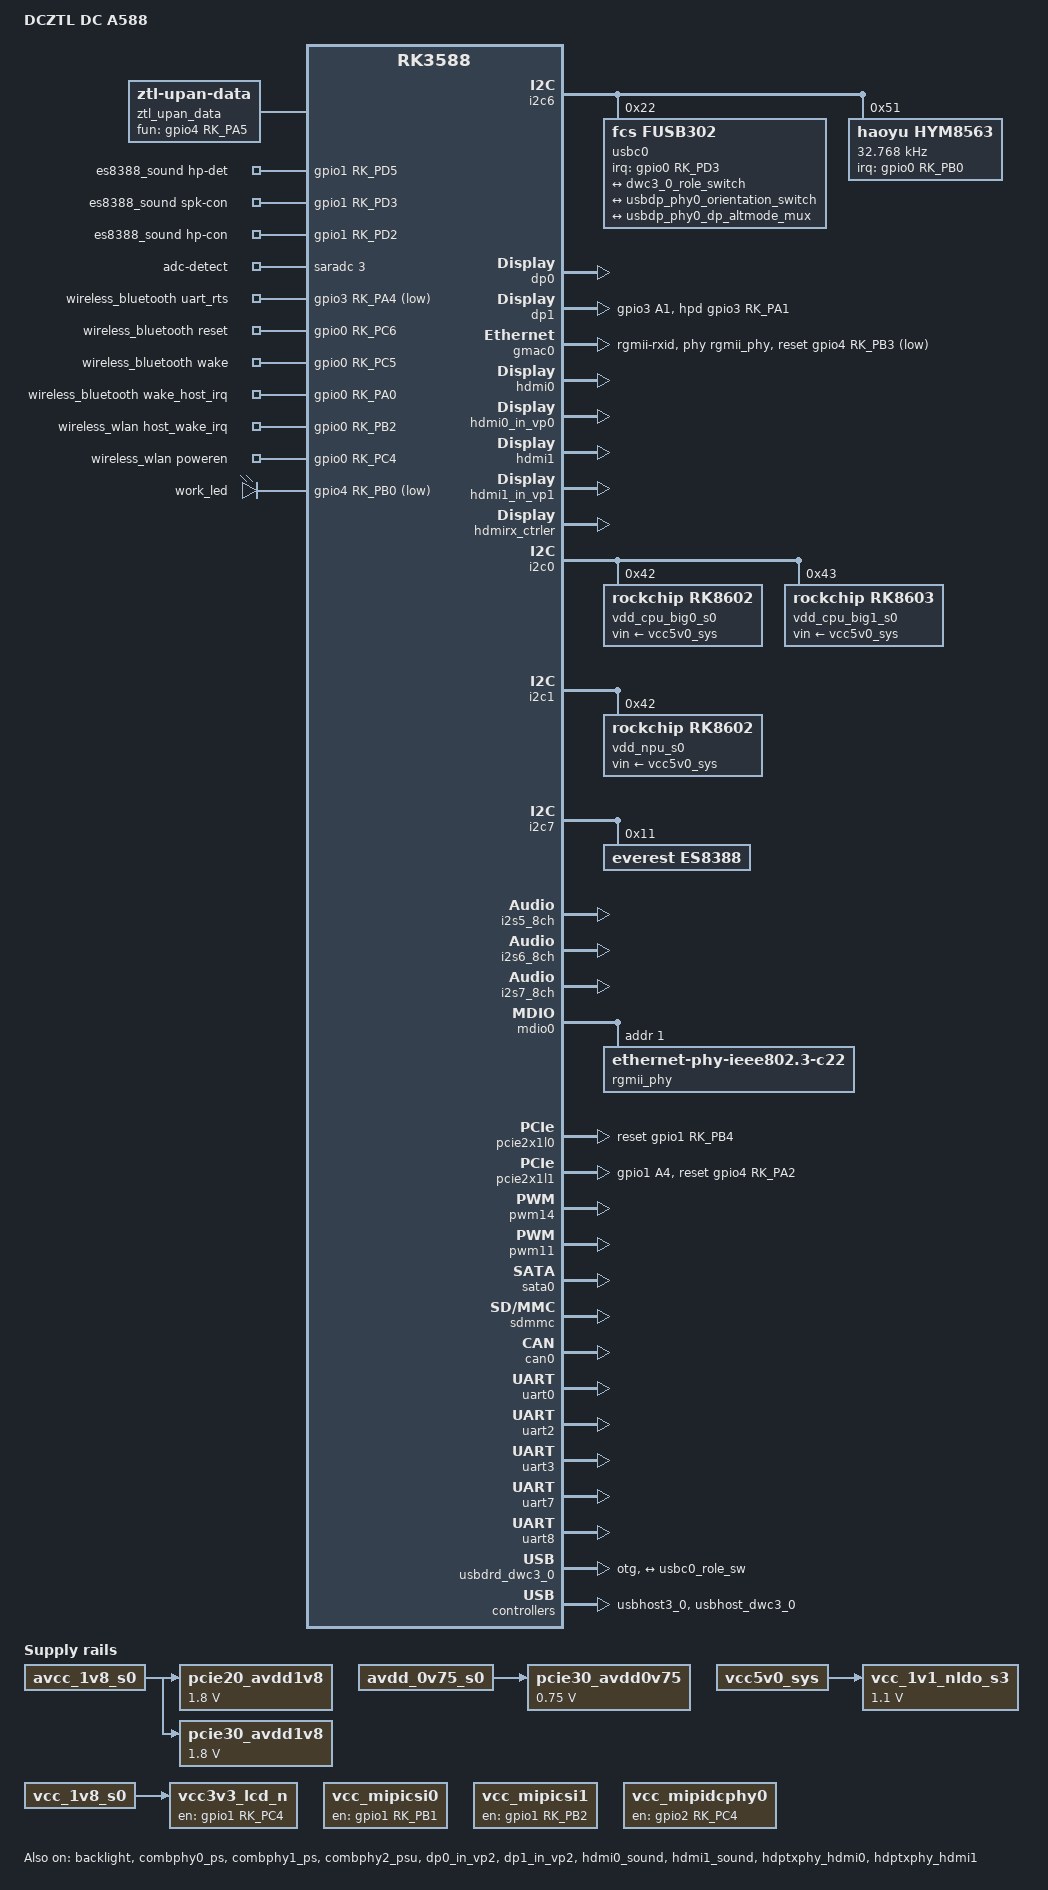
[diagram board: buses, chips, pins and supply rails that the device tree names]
// SPDX-License-Identifier: (GPL-2.0+ OR MIT)
/*
 * Copyright (c) 2021 Rockchip Electronics Co., Ltd.
 *
 */
 
/dts-v1/;
#include "dt-bindings/usb/pd.h"
#include "rk3588.dtsi"
#include "rk3588-dc-a588.dtsi"
#include "rk3588-rk806-single.dtsi"

/ {
        model = "DCZTL DC A588";
        compatible = "dcztl,dc-a588", "rockchip,rk3588";	
	
	/* If hdmirx node is disabled, delete the reserved-memory node here. */
	reserved-memory {
		#address-cells = <2>;
		#size-cells = <2>;
		ranges;

		/* Reserve 256MB memory for hdmirx-controller@fdee0000 */
		cma {
			compatible = "shared-dma-pool";
			reusable;
			reg = <0x0 (256 * 0x100000) 0x0 (256 * 0x100000)>;
			linux,cma-default;
		};
	};
         ztl_upan_data: ztl_upan_data {
                 compatible = "ztl-upan-data";
                 status = "okay";
                 gtp_used = <0>;
                 gtp_max_x = <0>;
                 gtp_max_y = <0>;
                 gtp_x_reverse_enable = <0>;
                 gtp_y_reverse_enable = <0>;
                 gtp_swap_x2y = <0>;
         //      lcd_pwm_pol = <0> ;  // #背光极性
                 lcd_bl_max_freq = <0> ; //  #背光频率
                 lcd_bl_delay = <0> ; // #背光延时
                 sys_speaker_gain  = <0> ;  // #喇叭增益
                 sys_mic_gain = <0> ; //#Mic增益
         //      sys_debug_uart = <0> ;  //#调试口配置
                 sys_codec_output = <0> ;// #声音输出通道选择  耳机，喇叭 hdmi,usb声卡（保留配置
                 primary_lcd = <0>;//0x1:HDMI 0x2:LVDS 0x4:EDP 0x8:DSI 0x41(65):HDMI+EDP...
                 extend_lcd = <0>;//0x1:HDMI 0x2:LVDS 0x4:EDP 0x8:DSI 0x41:HDMI+EDP...
                 hardwardvs = <1>;
                 disp_fb_width = <0>;
                 disp_fb_height = <0>;
 
                 hdmi_mode = <0>;// /* 4   - 1280x720p@60Hz  */
                                                         /* 16  - 1920x1080p@60Hz  */
                 //spk_ctl_gpio = <&gpio3 RK_PC5 GPIO_ACTIVE_HIGH>;
                 fun_gpios = <&gpio4 RK_PA5 GPIO_ACTIVE_HIGH>;
	//	 4g_gpio = <&gpio3 RK_PB4 GPIO_ACTIVE_LOW>; 
        //         io-channels = <&saradc 1>;
        //         io-channel-names = "hard_id";
         };

	es8388_sound: es8388-sound {
		status = "okay";
		compatible = "rockchip,multicodecs-card";
		rockchip,card-name = "rockchip-es8388";
		hp-det-gpio = <&gpio1 RK_PD5 GPIO_ACTIVE_HIGH>;
		io-channels = <&saradc 3>;
		io-channel-names = "adc-detect";
		keyup-threshold-microvolt = <1800000>;
		poll-interval = <100>;
		spk-con-gpio = <&gpio1 RK_PD3 GPIO_ACTIVE_HIGH>;
		hp-con-gpio = <&gpio1 RK_PD2 GPIO_ACTIVE_HIGH>;
		rockchip,format = "i2s";
		rockchip,mclk-fs = <256>;
		rockchip,cpu = <&i2s0_8ch>;
		rockchip,codec = <&es8388>;
		rockchip,audio-routing =
			"Headphone", "LOUT1",
			"Headphone", "ROUT1",
			"Speaker", "LOUT2",
			"Speaker", "ROUT2",
			"Headphone", "Headphone Power",
			"Headphone", "Headphone Power",
			"Speaker", "Speaker Power",
			"Speaker", "Speaker Power",
			"LINPUT1", "Main Mic",
			"LINPUT2", "Main Mic",
			"RINPUT1", "Headset Mic",
			"RINPUT2", "Headset Mic";
		pinctrl-names = "default";
		pinctrl-0 = <&hp_det>;
		play-pause-key {
			label = "playpause";
			linux,code = <KEY_PLAYPAUSE>;
			press-threshold-microvolt = <2000>;
		};
	};

	hdmiin_dc: hdmiin-dc {
		compatible = "rockchip,dummy-codec";
		#sound-dai-cells = <0>;
	};

	hdmiin-sound {
		compatible = "simple-audio-card";
		simple-audio-card,format = "i2s";
		simple-audio-card,name = "rockchip,hdmiin";
		simple-audio-card,bitclock-master = <&dailink0_master>;
		simple-audio-card,frame-master = <&dailink0_master>;
		status = "okay";
		simple-audio-card,cpu {
			sound-dai = <&i2s7_8ch>;
		};
		dailink0_master: simple-audio-card,codec {
			sound-dai = <&hdmiin_dc>;
		};
	};
/*
	pcie20_avdd0v85: pcie20-avdd0v85 {
		compatible = "regulator-fixed";
		regulator-name = "pcie20_avdd0v85";
		regulator-boot-on;
		regulator-always-on;
		regulator-min-microvolt = <850000>;
		regulator-max-microvolt = <850000>;
		vin-supply = <&avdd_0v85_s0>;
	};
*/
	pcie20_avdd1v8: pcie20-avdd1v8 {
		compatible = "regulator-fixed";
		regulator-name = "pcie20_avdd1v8";
		regulator-boot-on;
		regulator-always-on;
		regulator-min-microvolt = <1800000>;
		regulator-max-microvolt = <1800000>;
		vin-supply = <&avcc_1v8_s0>;
	};

	pcie30_avdd0v75: pcie30-avdd0v75 {
		compatible = "regulator-fixed";
		regulator-name = "pcie30_avdd0v75";
		regulator-boot-on;
		regulator-always-on;
		regulator-min-microvolt = <750000>;
		regulator-max-microvolt = <750000>;
		vin-supply = <&avdd_0v75_s0>;
	};

	pcie30_avdd1v8: pcie30-avdd1v8 {
		compatible = "regulator-fixed";
		regulator-name = "pcie30_avdd1v8";
		regulator-boot-on;
		regulator-always-on;
		regulator-min-microvolt = <1800000>;
		regulator-max-microvolt = <1800000>;
		vin-supply = <&avcc_1v8_s0>;
	};

	rk_headset: rk-headset {
		status = "disabled";
		compatible = "rockchip_headset";
		headset_gpio = <&gpio1 RK_PD5 GPIO_ACTIVE_HIGH>;
		pinctrl-names = "default";
		pinctrl-0 = <&hp_det>;
		io-channels = <&saradc 3>;
	};
/*
	vbus5v0_typec: vbus5v0-typec {
		compatible = "regulator-fixed";
		regulator-name = "vbus5v0_typec";
		regulator-min-microvolt = <5000000>;
		regulator-max-microvolt = <5000000>;
		enable-active-high;
		gpio = <&gpio4 RK_PD0 GPIO_ACTIVE_HIGH>;
		vin-supply = <&vcc5v0_usb>;
		pinctrl-names = "default";
		pinctrl-0 = <&typec5v_pwren>;
	};
*/

        vcc_1v1_nldo_s3: vcc-1v1-nldo-s3 {
                compatible = "regulator-fixed";
                regulator-name = "vcc_1v1_nldo_s3";
                regulator-always-on;
                regulator-boot-on;
                regulator-min-microvolt = <1100000>;
                regulator-max-microvolt = <1100000>;
                vin-supply = <&vcc5v0_sys>;
        };

	vcc3v3_lcd_n: vcc3v3-lcd0-n {
		compatible = "regulator-fixed";
		regulator-name = "vcc3v3_lcd0_n";
		regulator-boot-on;
		enable-active-high;
		gpio = <&gpio1 RK_PC4 GPIO_ACTIVE_HIGH>;
		vin-supply = <&vcc_1v8_s0>;
	};
/*
	vcc3v3_pcie30: vcc3v3-pcie30 {
		compatible = "regulator-fixed";
		regulator-name = "vcc3v3_pcie30";
		regulator-min-microvolt = <3300000>;
		regulator-max-microvolt = <3300000>;
		enable-active-high;
		gpios = <&gpio3 RK_PC3 GPIO_ACTIVE_HIGH>;
		startup-delay-us = <5000>;
		vin-supply = <&vcc12v_dcin>;
	};
*/
/*
	vcc5v0_host: vcc5v0-host {
		compatible = "regulator-fixed";
		regulator-name = "vcc5v0_host";
		regulator-boot-on;
		regulator-always-on;
		regulator-min-microvolt = <5000000>;
		regulator-max-microvolt = <5000000>;
		enable-active-high;
		gpio = <&gpio4 RK_PB0 GPIO_ACTIVE_HIGH>;
		vin-supply = <&vcc5v0_usb>;
		pinctrl-names = "default";
		pinctrl-0 = <&vcc5v0_host_en>;
	};
*/
	vcc_mipicsi0: vcc-mipicsi0-regulator {
		compatible = "regulator-fixed";
		gpio = <&gpio1 RK_PB1 GPIO_ACTIVE_HIGH>;
		pinctrl-names = "default";
		pinctrl-0 = <&mipicsi0_pwr>;
		regulator-name = "vcc_mipicsi0";
		enable-active-high;
	};

	vcc_mipicsi1: vcc-mipicsi1-regulator {
		compatible = "regulator-fixed";
		gpio = <&gpio1 RK_PB2 GPIO_ACTIVE_HIGH>;
		pinctrl-names = "default";
		pinctrl-0 = <&mipicsi1_pwr>;
		regulator-name = "vcc_mipicsi1";
		enable-active-high;
	};

	vcc_mipidcphy0: vcc-mipidcphy0-regulator {
		compatible = "regulator-fixed";
		gpio = <&gpio2 RK_PC4 GPIO_ACTIVE_HIGH>;
		pinctrl-names = "default";
		pinctrl-0 = <&mipidcphy0_pwr>;
		regulator-name = "vcc_mipidcphy0";
		enable-active-high;
	};

	wireless_bluetooth: wireless-bluetooth {
		compatible = "bluetooth-platdata";
		clocks = <&hym8563>;
		clock-names = "ext_clock";
		uart_rts_gpios = <&gpio3 RK_PA4 GPIO_ACTIVE_LOW>;
		pinctrl-names = "default", "rts_gpio";
		pinctrl-0 = <&uart8m1_rtsn>, <&bt_reset_gpio>, <&bt_wake_gpio>, <&bt_irq_gpio>;
		pinctrl-1 = <&uart8_gpios>;
		BT,reset_gpio    = <&gpio0 RK_PC6 GPIO_ACTIVE_HIGH>;//BT_REG_ON
		BT,wake_gpio     = <&gpio0 RK_PC5 GPIO_ACTIVE_HIGH>;//HOST_WAKE_BT
		BT,wake_host_irq = <&gpio0 RK_PA0 GPIO_ACTIVE_HIGH>;//BT_WAKE_HOST
		status = "okay";
	};

	wireless_wlan: wireless-wlan {
		compatible = "wlan-platdata";
		wifi_chip_type = "ap6275p";
		pinctrl-names = "default";
		pinctrl-0 = <&wifi_host_wake_irq>, <&wifi_poweren_gpio>;
		WIFI,host_wake_irq = <&gpio0 RK_PB2 GPIO_ACTIVE_HIGH>;
		WIFI,poweren_gpio = <&gpio0 RK_PC4 GPIO_ACTIVE_HIGH>;
		status = "okay";
	};
};

&i2c5{
	status = "disabled";

	
	gt911:ts@14 {
		compatible = "goodix,gt9xx";
		reg = <0x14>;
		touch-gpio = <&gpio3 RK_PC3 IRQ_TYPE_LEVEL_LOW>;
		reset-gpio = <&gpio3 RK_PB7 GPIO_ACTIVE_LOW>;
		tp-size = <911>;
		flip-x = <0>;
		flip-y = <0>;
		swap-xy = <0>;
		//  max-x = <1024>;
		//  max-y = <600>;
		status = "disabled";
		pinctrl-names = "default";
		pinctrl-0 = <&touch_gpio>;
		
	};
};

&i2c6 {
        status = "okay";
};

&backlight {
	pwms = <&pwm14 0 25000 0>;
	status = "okay";
};

&combphy0_ps {
	status = "okay";
};

&combphy1_ps {
	status = "okay";
};

&combphy2_psu {
	status = "okay";
};

&dp0 {
	status = "okay";
};

&dp0_in_vp2 {
	status = "okay";
};

&dp1 {
	pinctrl-names = "default";
	pinctrl-0 = <&dp1_hpd>;
	hpd-gpios = <&gpio3 RK_PA1 GPIO_ACTIVE_HIGH>;
	status = "okay";
};

&dp1_in_vp2 {
	status = "okay";
};

&gmac0 {
	/* Use rgmii-rxid mode to disable rx delay inside Soc */
	phy-mode = "rgmii-rxid";
	clock_in_out = "output";

	snps,reset-gpio = <&gpio4 RK_PB3 GPIO_ACTIVE_LOW>;
	snps,reset-active-low;
	/* Reset time is 20ms, 100ms for rtl8211f */
	snps,reset-delays-us = <0 20000 100000>;

	pinctrl-names = "default";
	pinctrl-0 = <&gmac0_miim
		     &gmac0_tx_bus2
		     &gmac0_rx_bus2
		     &gmac0_rgmii_clk
		     &gmac0_rgmii_bus>;

	tx_delay = <0x43>;
	/* rx_delay = <0x3f>; */

	phy-handle = <&rgmii_phy>;
	status = "okay";
};
#if 1
&hdmi0 {
	enable-gpios = <&gpio4 RK_PB1 GPIO_ACTIVE_HIGH>;
	status = "okay";
};

&route_hdmi0 {
	status = "disabled";
	logo,kernel = "logo.bmp";
	connect = <&vp0_out_hdmi0>;
};

&hdmi0_in_vp0 {
	status = "okay";
};

&hdmi0_sound {
	status = "okay";
};

&hdmi1 {
	enable-gpios = <&gpio4 RK_PB2 GPIO_ACTIVE_HIGH>;
	status = "okay";
};

&route_hdmi1 {
	status = "disabled";
	logo,kernel = "logo.bmp";
	connect = <&vp1_out_hdmi1>;
};

&hdmi1_in_vp1 {
	status = "okay";
};

&hdmi1_sound {
	status = "okay";
};

#else
&hdmi0 {
	split-mode;
        enable-gpios = <&gpio4 RK_PB1 GPIO_ACTIVE_HIGH>;
        status = "okay";
};

&hdmi0_in_vp0 {
        status = "okay";
};

&hdmi0_sound {
        status = "okay";
};

&hdmi1 {
        enable-gpios = <&gpio4 RK_PB2 GPIO_ACTIVE_HIGH>;
        status = "okay";
};

&hdmi1_in_vp0 {
        status = "okay";
};

&hdmi1_in_vp1 {
        status = "disabled";
};

&hdmi1_sound {
        status = "okay";
};

#endif

/* Should work with at least 128MB cma reserved above. */
&hdmirx_ctrler {
	status = "okay";

	/* Effective level used to trigger HPD: 0-low, 1-high */
	hpd-trigger-level = <1>;
	hdmirx-det-gpios = <&gpio2 13 GPIO_ACTIVE_LOW>;
};

&hdptxphy_hdmi0 {
	status = "okay";
};

&hdptxphy_hdmi1 {
	status = "okay";
};

&i2c0 {
        status = "okay";
        pinctrl-names = "default";
        pinctrl-0 = <&i2c0m2_xfer>;

        vdd_cpu_big0_s0: vdd_cpu_big0_mem_s0: rk8602@42 {
                compatible = "rockchip,rk8602";
                reg = <0x42>;
                vin-supply = <&vcc5v0_sys>;
                regulator-compatible = "rk860x-reg";
                regulator-name = "vdd_cpu_big0_s0";
                regulator-min-microvolt = <550000>;
                regulator-max-microvolt = <1050000>;
                regulator-ramp-delay = <2300>;
                rockchip,suspend-voltage-selector = <1>;
                regulator-boot-on;
                regulator-always-on;
                regulator-state-mem {
                        regulator-off-in-suspend;
                };
        };

        vdd_cpu_big1_s0: vdd_cpu_big1_mem_s0: rk8603@43 {
                compatible = "rockchip,rk8603";
                reg = <0x43>;
                vin-supply = <&vcc5v0_sys>;
                regulator-compatible = "rk860x-reg";
                regulator-name = "vdd_cpu_big1_s0";
                regulator-min-microvolt = <550000>;
                regulator-max-microvolt = <1050000>;
                regulator-ramp-delay = <2300>;
                rockchip,suspend-voltage-selector = <1>;
                regulator-boot-on;
                regulator-always-on;
                regulator-state-mem {
                        regulator-off-in-suspend;
                };
        };
};

&i2c1 {
        status = "okay";
		pinctrl-0 = <&i2c1m2_xfer>;
		// gt1x: gt1x@14 {
		// 	status = "disabled";
		// };

        vdd_npu_s0: vdd_npu_mem_s0: rk8602@42 {
                compatible = "rockchip,rk8602";
                reg = <0x42>;
                vin-supply = <&vcc5v0_sys>;
                regulator-compatible = "rk860x-reg";
                regulator-name = "vdd_npu_s0";
                regulator-min-microvolt = <550000>;
                regulator-max-microvolt = <950000>;
                regulator-ramp-delay = <2300>;
                rockchip,suspend-voltage-selector = <1>;
                regulator-boot-on;
                regulator-always-on;
                regulator-state-mem {
                        regulator-off-in-suspend;
                };
        };
};

&i2c6 {
	status = "okay";

	usbc0: fusb302@22 {
		compatible = "fcs,fusb302";
		reg = <0x22>;
		interrupt-parent = <&gpio0>;
		interrupts = <RK_PD3 IRQ_TYPE_LEVEL_LOW>;
		pinctrl-names = "default";
		pinctrl-0 = <&usbc0_int>;
//		vbus-supply = <&vbus5v0_typec>;
		status = "okay";

		ports {
			#address-cells = <1>;
			#size-cells = <0>;

			port@0 {
				reg = <0>;
				usbc0_role_sw: endpoint@0 {
					remote-endpoint = <&dwc3_0_role_switch>;
				};
			};
		};

		usb_con: connector {
			compatible = "usb-c-connector";
			label = "USB-C";
			data-role = "dual";
			power-role = "dual";
			try-power-role = "sink";
			op-sink-microwatt = <1000000>;
			sink-pdos =
				<PDO_FIXED(5000, 1000, PDO_FIXED_USB_COMM)>;
			source-pdos =
				<PDO_FIXED(5000, 3000, PDO_FIXED_USB_COMM)>;

			altmodes {
				#address-cells = <1>;
				#size-cells = <0>;

				altmode@0 {
					reg = <0>;
					svid = <0xff01>;
					vdo = <0xffffffff>;
				};
			};

			ports {
				#address-cells = <1>;
				#size-cells = <0>;

				port@0 {
					reg = <0>;
					usbc0_orien_sw: endpoint {
						remote-endpoint = <&usbdp_phy0_orientation_switch>;
					};
				};

				port@1 {
					reg = <1>;
					dp_altmode_mux: endpoint {
						remote-endpoint = <&usbdp_phy0_dp_altmode_mux>;
					};
				};
			};
		};
	};

	hym8563: hym8563@51 {
		compatible = "haoyu,hym8563";
		reg = <0x51>;
		#clock-cells = <0>;
		clock-frequency = <32768>;
		clock-output-names = "hym8563";
		pinctrl-names = "default";
		pinctrl-0 = <&hym8563_int>;
		interrupt-parent = <&gpio0>;
		interrupts = <RK_PB0 IRQ_TYPE_LEVEL_LOW>;
/*
                pinctrl-names = "default";
                pinctrl-0 = <&hym8563_int>;
                interrupt-parent = <&gpio0>;
                interrupts = <RK_PD4 IRQ_TYPE_LEVEL_LOW>;
*/
		wakeup-source;
	};
};


&i2c7 {
	status = "okay";
	es8388: es8388@11 {
		status = "okay";
		#sound-dai-cells = <0>;
		compatible = "everest,es8388", "everest,es8323";
		reg = <0x11>;
		clocks = <&cru I2S0_8CH_MCLKOUT>;
		clock-names = "mclk";
		assigned-clocks = <&cru I2S0_8CH_MCLKOUT>;
		assigned-clock-rates = <12288000>;
		pinctrl-names = "default";
		pinctrl-0 = <&i2s0_mclk>;
	};
};

&i2s5_8ch {
	status = "okay";
};

&i2s6_8ch {
	status = "okay";
};

&i2s7_8ch {
	status = "okay";
};

&mdio0 {
	rgmii_phy: phy@1 {
		compatible = "ethernet-phy-ieee802.3-c22";
		reg = <0x1>;
	};
};


&pcie2x1l0 {
	reset-gpios = <&gpio1 RK_PB4 GPIO_ACTIVE_HIGH>;
	rockchip,skip-scan-in-resume;
	status = "okay";
};

&pcie2x1l1 {
	reset-gpios = <&gpio4 RK_PA2 GPIO_ACTIVE_HIGH>;
	pinctrl-names = "default";
	pinctrl-0 = <&rtl8111_isolate>;
	status = "okay";
};
#if 0
&pcie30phy {
	rockchip,pcie30-phymode = <PHY_MODE_PCIE_AGGREGATION>;
	status = "okay";
};

&pcie3x4 {
	reset-gpios = <&gpio4 RK_PB6 GPIO_ACTIVE_HIGH>;
//	vpcie3v3-supply = <&vcc3v3_pcie30>;
	status = "okay";
};
#endif
&pinctrl {
	cam {
		mipicsi0_pwr: mipicsi0-pwr {
			rockchip,pins =
				/* camera power en */
				<1 RK_PB1 RK_FUNC_GPIO &pcfg_pull_none>;
		};
		mipicsi1_pwr: mipicsi1-pwr {
			rockchip,pins =
				/* camera power en */
				<1 RK_PB2 RK_FUNC_GPIO &pcfg_pull_none>;
		};
		mipidcphy0_pwr: mipidcphy0-pwr {
			rockchip,pins =
				/* camera power en */
				<2 RK_PC4 RK_FUNC_GPIO &pcfg_pull_none>;
		};
	};

	dp {
		dp1_hpd: dp1-hpd {
			rockchip,pins = <3 RK_PA1 RK_FUNC_GPIO &pcfg_pull_none>;
		};
	};

	headphone {
		hp_det: hp-det {
			rockchip,pins = <1 RK_PD5 RK_FUNC_GPIO &pcfg_pull_none>;
		};
	};

	hym8563 {
		hym8563_int: hym8563-int {
			rockchip,pins = <0 RK_PB0 RK_FUNC_GPIO &pcfg_pull_up>;
		};
	};

	lcd {
		lcd_rst_gpio: lcd-rst-gpio {
			rockchip,pins = <2 RK_PB4 RK_FUNC_GPIO &pcfg_pull_none>;
		};
	};

	rtl8111 {
		rtl8111_isolate: rtl8111-isolate {
			rockchip,pins = <1 RK_PA4 RK_FUNC_GPIO &pcfg_pull_up>;
		};
	};

	touch {
		touch_gpio: touch-gpio {
			rockchip,pins =
				<3 RK_PC3 RK_FUNC_GPIO &pcfg_pull_up>,
				<3 RK_PB7 RK_FUNC_GPIO &pcfg_pull_none>;
		};
	};
/*
	usb {
		vcc5v0_host_en: vcc5v0-host-en {
			rockchip,pins = <4 RK_PB0 RK_FUNC_GPIO &pcfg_pull_none>;
		};
	};
*/
	usb-typec {
		usbc0_int: usbc0-int {
			rockchip,pins = <0 RK_PD3 RK_FUNC_GPIO &pcfg_pull_up>;
		};
/*
		typec5v_pwren: typec5v-pwren {
			rockchip,pins = <4 RK_PD0 RK_FUNC_GPIO &pcfg_pull_none>;
		};
*/
	};

	wireless-bluetooth {
		uart8_gpios: uart8-gpios {
			rockchip,pins = <3 RK_PA4 RK_FUNC_GPIO &pcfg_pull_none>;
		};

		bt_reset_gpio: bt-reset-gpio {
			rockchip,pins = <0 RK_PC6 RK_FUNC_GPIO &pcfg_pull_none>;
		};

		bt_wake_gpio: bt-wake-gpio {
			rockchip,pins = <0 RK_PC5 RK_FUNC_GPIO &pcfg_pull_none>;
		};

		bt_irq_gpio: bt-irq-gpio {
			rockchip,pins = <0 RK_PA0 RK_FUNC_GPIO &pcfg_pull_down>;
		};
	};

	wireless-wlan {
		wifi_host_wake_irq: wifi-host-wake-irq {
			rockchip,pins = <0 RK_PB2 RK_FUNC_GPIO &pcfg_pull_down>;
		};

		wifi_poweren_gpio: wifi-poweren-gpio {
			rockchip,pins = <0 RK_PC4 RK_FUNC_GPIO &pcfg_pull_up>;
		};
	};
};

&pwm14 {
	status = "okay";
};

&pwm11 {
	status = "okay";
	pinctrl-0 = <&pwm11m3_pins>;
        compatible = "rockchip,remotectl-pwm";
        remote_pwm_id = <11>;
        handle_cpu_id = <1>;
        remote_support_psci = <0>;
        pinctrl-names = "default";
        ir_key1 {
                rockchip,usercode = <0xff00>;
                rockchip,key_table =
                // <0xa4 28>,// enter
				<0xa4 232>,// enter
                <0xac 158>,
                <0xb2 103>,
                <0xa5 108>,
                <0xa8 105>,
                <0xa0 106>,
                <0xad 172>,
                <0xa3 115>,
                <0xab 114>,
                <0xb7 217>,
                <0xf0 116>,
                <0xa7 113>,
                <0xef 139>,
                <0xf5 0x192>,
                <0xa1 140>,//mouse button Generic.kl calculate -> android button 210
                <0xe8 2>,
                <0xe4 3>,
                <0xe0 4>,
                <0xe9 5>,
                <0xe5 6>,
                <0xe1 7>,
                <0xea 8>,
                <0xe6 9>,
                <0xe2 10>,
                <0xe7 11>,
                <0xeb 52>,
                <0xaf 68>,
                <0xec 87>,
                <0xf0 88>,
                <0xa9 15>,
                <0xa8 66>,
           //     <0xe3 111>,
                <0xa6 164>,
                <0xaa 207>,
             <0xee 242>,
                <0xed 241>,
    <0xa9 15>,
    <0xe3 14>;

        };

};

&rockchip_suspend {
	compatible = "rockchip,pm-rk3588";
	status = "okay";
	rockchip,sleep-debug-en = <1>;
	rockchip,sleep-mode-config = <
		(0
		| RKPM_SLP_ARMOFF_DDRPD
		)
	>;
	rockchip,wakeup-config = <
		(0
		| RKPM_GPIO_WKUP_EN
		| RKPM_USB_WKUP_EN
		)
	>;
};

&avdd_0v75_s0 {
	regulator-state-mem {
		regulator-on-in-suspend;
		regulator-suspend-microvolt = <837500>;
	};
};

&avcc_1v8_s0 {
	regulator-state-mem {
		regulator-on-in-suspend;
		regulator-suspend-microvolt = <1800000>;
	};
};

&vcc_1v8_s0 {
	regulator-state-mem {
		regulator-on-in-suspend;
		regulator-suspend-microvolt = <1800000>;
	};
};

&vcc_3v3_s0 {
	regulator-state-mem {
		regulator-on-in-suspend;
		regulator-suspend-microvolt = <3300000>;
	};
};

&vdd_log_s0 {
	regulator-state-mem {
		regulator-on-in-suspend;
		regulator-suspend-microvolt = <750000>;
	};
};

&vdd_ddr_pll_s0 {
	regulator-state-mem {
		regulator-on-in-suspend;
		regulator-suspend-microvolt = <850000>;
	};
};

&sata0 {
	status = "okay";
};

&u2phy0_otg {
	rockchip,typec-vbus-det;
};
/*
&u2phy1_otg {
	phy-supply = <&vcc5v0_host>;
};

&u2phy2_host {
	phy-supply = <&vcc5v0_host>;
};

&u2phy3_host {
	phy-supply = <&vcc5v0_host>;
};
*/
&sdmmc {
	status = "okay";
};

&leds {
  work_led: work {
   gpios = <&gpio4 RK_PB0 GPIO_ACTIVE_LOW>;
   linux,default-trigger = "timer";
  };
 };

&can0{
	status = "okay";
};

&uart0 {
        status = "okay";
        pinctrl-names = "default";
        pinctrl-0 = <&uart0m2_xfer>;
};

&uart2 {
        status = "okay";
        pinctrl-names = "default";
        pinctrl-0 = <&uart2m1_xfer>;
};

&uart3 {
        status = "okay";
        pinctrl-names = "default";
        pinctrl-0 = <&uart3m1_xfer>;
};
&uart7 {
        status = "okay";
        pinctrl-names = "default";
        pinctrl-0 = <&uart7m1_xfer>;
};

&uart8 {
	status = "okay";
	pinctrl-names = "default";
	pinctrl-0 = <&uart8m1_xfer &uart8m1_ctsn>;
};

&usbdp_phy0 {
	orientation-switch;
	svid = <0xff01>;
	sbu1-dc-gpios = <&gpio4 RK_PA6 GPIO_ACTIVE_HIGH>;
	sbu2-dc-gpios = <&gpio4 RK_PA7 GPIO_ACTIVE_HIGH>;

	port {
		#address-cells = <1>;
		#size-cells = <0>;
		usbdp_phy0_orientation_switch: endpoint@0 {
			reg = <0>;
			remote-endpoint = <&usbc0_orien_sw>;
		};

		usbdp_phy0_dp_altmode_mux: endpoint@1 {
			reg = <1>;
			remote-endpoint = <&dp_altmode_mux>;
		};
	};
};

&usbdp_phy1 {
	rockchip,dp-lane-mux = <2 3>;
};

&usbdrd_dwc3_0 {
	dr_mode = "otg";
	usb-role-switch;
	port {
		#address-cells = <1>;
		#size-cells = <0>;
		dwc3_0_role_switch: endpoint@0 {
			reg = <0>;
			remote-endpoint = <&usbc0_role_sw>;
		};
	};
};

&usbhost3_0 {
	status = "okay";
};

&usbhost_dwc3_0 {
	status = "okay";
};
